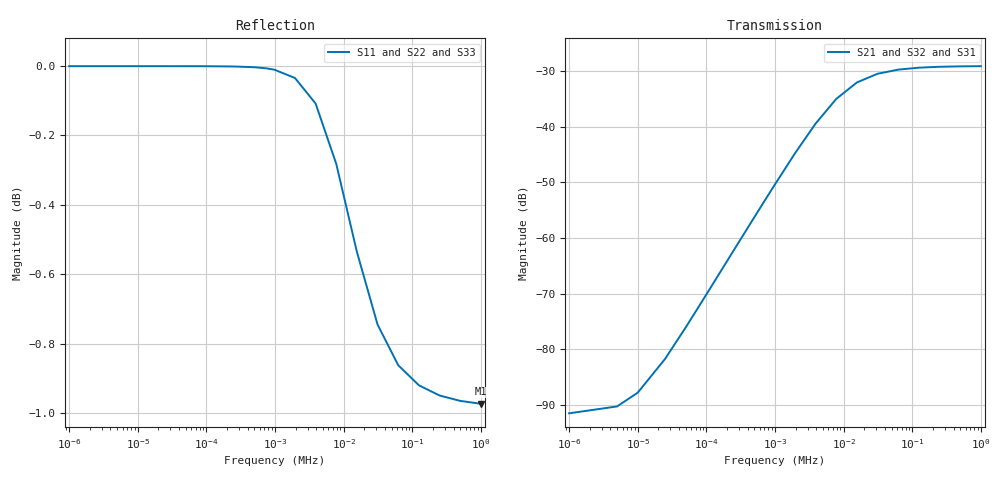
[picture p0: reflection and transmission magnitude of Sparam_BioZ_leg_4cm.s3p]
# GHz S MA R 50
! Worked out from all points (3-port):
!   21 points, 1 Hz to 1 MHz, reference 50 ohm
!   strongest paths, dB at 1 Hz, 75 Hz, 976.6 Hz, 31.25 kHz, 1 MHz:
!     S21: -91.5, -72.6, -50.6, -30.5, -29.1
!     S32: -91.5, -72.6, -50.6, -30.6, -29.2
!     S31: -91.5, -72.6, -50.6, -30.8, -29.3
!   lowest |S11| = -1.0 dB at 1 MHz (marker M1), VSWR 17.87, Z = 893 - j17.1 ohm
!   |S11| at or under -10 dB: nowhere
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1e-09  0.9999 -0.0  2.674e-05 6.7  2.674e-05 6.7
       2.674e-05 6.7  0.9999 -0.0  2.674e-05 6.7
       2.674e-05 6.7  2.674e-05 6.7  0.9999 -0.0
2.5e-08  0.9999 -0.0  8.228e-05 70.7  8.228e-05 70.7
         8.228e-05 70.7  0.9999 -0.0  8.228e-05 70.7
         8.228e-05 70.7  8.228e-05 70.7  0.9999 -0.0
5e-08  0.9999 -0.0  0.0001579 79.6  0.0001578 79.5
       0.0001579 79.6  0.9999 -0.0  0.0001579 79.6
       0.0001578 79.5  0.0001579 79.6  0.9999 -0.0
1.95313e-06  0.996 -1.0  0.005753 76.2  0.005743 75.8
             0.005753 76.2  0.996 -1.0  0.00575 76.1
             0.005743 75.8  0.00575 76.1  0.996 -1.0
3.90625e-06  0.9876 -1.7  0.01065 66.5  0.0106 65.8
             0.01065 66.5  0.9877 -1.7  0.01064 66.3
             0.0106 65.8  0.01064 66.3  0.9877 -1.7
7.8125e-06  0.968 -2.5  0.01774 51.9  0.01751 50.9
            0.01774 51.9  0.9681 -2.5  0.01767 51.7
            0.01751 50.9  0.01767 51.7  0.9681 -2.5
1.5625e-05  0.9401 -2.6  0.02492 35.3  0.02433 34.3
            0.02492 35.3  0.9399 -2.7  0.02476 35.1
            0.02433 34.3  0.02476 35.1  0.9399 -2.7
3.125e-05  0.9178 -2.0  0.02982 21.5  0.02887 20.9
           0.02982 21.5  0.917 -2.1  0.02956 21.4
           0.02887 20.9  0.02956 21.4  0.917 -2.1
6.25e-05  0.9055 -1.3  0.03247 12.2  0.03136 12.0
          0.03247 12.2  0.9044 -1.3  0.03216 12.2
          0.03136 12.0  0.03216 12.2  0.9044 -1.3
0.001  0.894 -0.1  0.03487 0.8  0.03436 1.1
       0.03487 0.8  0.8935 -0.1  0.03469 0.9
       0.03436 1.1  0.03469 0.9  0.8935 -0.1
